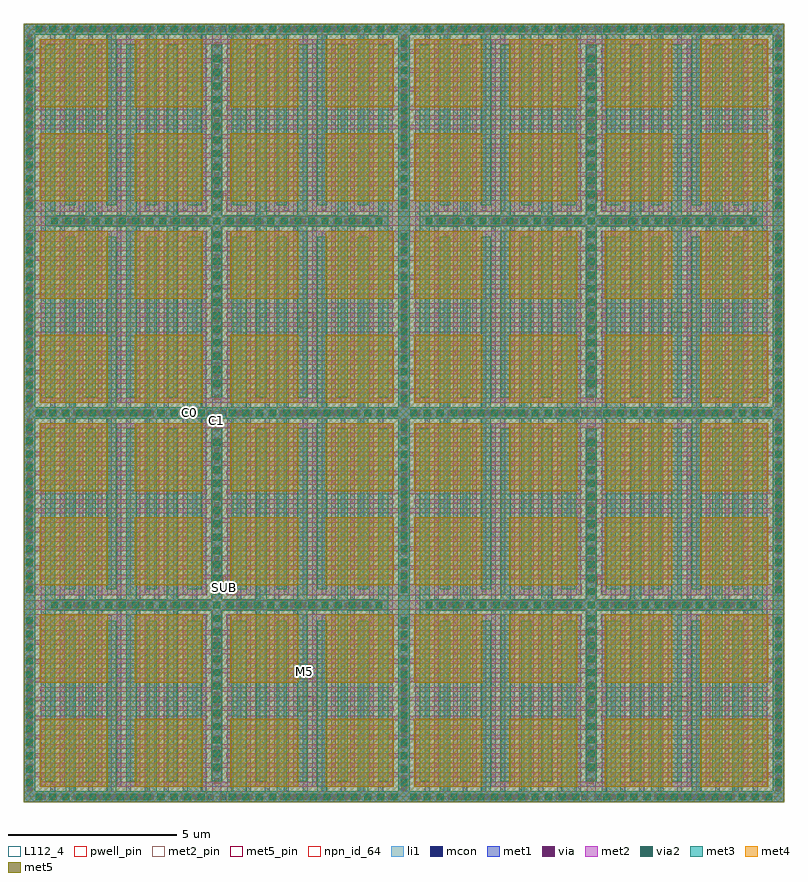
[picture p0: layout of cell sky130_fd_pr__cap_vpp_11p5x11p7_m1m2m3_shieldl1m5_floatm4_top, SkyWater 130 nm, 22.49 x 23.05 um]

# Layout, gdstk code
import gdstk
lib = gdstk.Library(unit=1e-6, precision=1e-09)
def R(c, l, rs):  # rectangles x0, y0, x1, y1
    for r in rs: c.add(gdstk.rectangle(r[:2], r[2:], *l))
def A(c, l, x, y, w, h, nx, ny, dx, dy):  # array of equal rectangles
    R(c, l, [(x+i*dx, y+j*dy, x+i*dx+w, y+j*dy+h) for i in range(nx) for j in range(ny)])
def P(c, l, *ps):  # polygons
    for p in ps: c.add(gdstk.Polygon(p, *l))
li1 = (67, 20)
mcon = (67, 44)
met1 = (68, 20)
via = (68, 44)
met2_pin = (69, 16)
met2 = (69, 20)
via2 = (69, 44)
met3 = (70, 20)
met4 = (71, 20)
met5_pin = (72, 16)
met5 = (72, 20)
npn_id_64 = (82, 64)
L112_4 = (112, 4)
pwell_pin = (122, 16)

sky130_fd_pr__cap_vpp_11 = lib.new_cell('sky130_fd_pr__cap_vpp_11p5x11p7_m1m2m3_shieldl1m5_floatm4')
R(sky130_fd_pr__cap_vpp_11, li1, [(0,0,11.41,11.69)])
A(sky130_fd_pr__cap_vpp_11, mcon, 0.4, 0.08, 0.17, 0.17, 30, 2, 0.36, 11.36)
A(sky130_fd_pr__cap_vpp_11, mcon, 0.08, 0.58, 0.17, 0.17, 1, 14, 0, 0.36)
A(sky130_fd_pr__cap_vpp_11, mcon, 11.16, 0.58, 0.17, 0.17, 1, 14, 0, 0.36)
A(sky130_fd_pr__cap_vpp_11, mcon, 0.08, 6.26, 0.17, 0.17, 1, 14, 0, 0.36)
A(sky130_fd_pr__cap_vpp_11, mcon, 11.16, 6.26, 0.17, 0.17, 1, 14, 0, 0.36)
P(sky130_fd_pr__cap_vpp_11, met1, [(10.91,11.22),(10.77,11.22),(10.77,6.005),(10.35,6.005),(10.35,11.22),(10.21,11.22),(10.21,6.005),(9.79,6.005),(9.79,11.22),(9.65,11.22),(9.65,6.005),(9.23,6.005),(9.23,11.22),(9.09,11.22),(9.09,6.005),(8.67,6.005),(8.67,11.22),(8.53,11.22),(8.53,6.005),(8.11,6.005),(8.11,11.22),(7.97,11.22),(7.97,6.005),(7.55,6.005),(7.55,11.22),(7.41,11.22),(7.41,6.005),(6.99,6.005),(6.99,11.22),(6.85,11.22),(6.85,6.005),(6.43,6.005),(6.43,11.22),(6.29,11.22),(6.29,6.005),(5.84,6.005),(5.84,11.22),(5.57,11.22),(5.57,6.005),(5.12,6.005),(5.12,11.22),(4.98,11.22),(4.98,6.005),(4.56,6.005),(4.56,11.22),(4.42,11.22),(4.42,6.005),(4,6.005),(4,11.22),(3.86,11.22),(3.86,6.005),(3.44,6.005),(3.44,11.22),(3.3,11.22),(3.3,6.005),(2.88,6.005),(2.88,11.22),(2.74,11.22),(2.74,6.005),(2.32,6.005),(2.32,11.22),(2.18,11.22),(2.18,6.005),(1.76,6.005),(1.76,11.22),(1.62,11.22),(1.62,6.005),(1.2,6.005),(1.2,11.22),(1.06,11.22),(1.06,6.005),(0.64,6.005),(0.64,11.22),(0.5,11.22),(0.5,0.47),(0.64,0.47),(0.64,5.685),(1.06,5.685),(1.06,0.47),(1.2,0.47),(1.2,5.685),(1.62,5.685),(1.62,0.47),(1.76,0.47),(1.76,5.685),(2.18,5.685),(2.18,0.47),(2.32,0.47),(2.32,5.685),(2.74,5.685),(2.74,0.47),(2.88,0.47),(2.88,5.685),(3.3,5.685),(3.3,0.47),(3.44,0.47),(3.44,5.685),(3.86,5.685),(3.86,0.47),(4,0.47),(4,5.685),(4.42,5.685),(4.42,0.47),(4.56,0.47),(4.56,5.685),(4.98,5.685),(4.98,0.47),(5.12,0.47),(5.12,5.685),(5.57,5.685),(5.57,0.47),(5.84,0.47),(5.84,5.685),(6.29,5.685),(6.29,0.47),(6.43,0.47),(6.43,5.685),(6.85,5.685),(6.85,0.47),(6.99,0.47),(6.99,5.685),(7.41,5.685),(7.41,0.47),(7.55,0.47),(7.55,5.685),(7.97,5.685),(7.97,0.47),(8.11,0.47),(8.11,5.685),(8.53,5.685),(8.53,0.47),(8.67,0.47),(8.67,5.685),(9.09,5.685),(9.09,0.47),(9.23,0.47),(9.23,5.685),(9.65,5.685),(9.65,0.47),(9.79,0.47),(9.79,5.685),(10.21,5.685),(10.21,0.47),(10.35,0.47),(10.35,5.685),(10.77,5.685),(10.77,0.47),(10.91,0.47)],
  [(11.41,11.69),(11.08,11.69),(11.08,0.33),(10.63,0.33),(10.63,5.545),(10.49,5.545),(10.49,0.33),(10.07,0.33),(10.07,5.545),(9.93,5.545),(9.93,0.33),(9.51,0.33),(9.51,5.545),(9.37,5.545),(9.37,0.33),(8.95,0.33),(8.95,5.545),(8.81,5.545),(8.81,0.33),(8.39,0.33),(8.39,5.545),(8.25,5.545),(8.25,0.33),(7.83,0.33),(7.83,5.545),(7.69,5.545),(7.69,0.33),(7.27,0.33),(7.27,5.545),(7.13,5.545),(7.13,0.33),(6.71,0.33),(6.71,5.545),(6.57,5.545),(6.57,0.33),(6.15,0.33),(6.15,5.545),(6.01,5.545),(6.01,0.33),(5.4,0.33),(5.4,5.545),(5.26,5.545),(5.26,0.33),(4.84,0.33),(4.84,5.545),(4.7,5.545),(4.7,0.33),(4.28,0.33),(4.28,5.545),(4.14,5.545),(4.14,0.33),(3.72,0.33),(3.72,5.545),(3.58,5.545),(3.58,0.33),(3.16,0.33),(3.16,5.545),(3.02,5.545),(3.02,0.33),(2.6,0.33),(2.6,5.545),(2.46,5.545),(2.46,0.33),(2.04,0.33),(2.04,5.545),(1.9,5.545),(1.9,0.33),(1.48,0.33),(1.48,5.545),(1.34,5.545),(1.34,0.33),(0.92,0.33),(0.92,5.545),(0.78,5.545),(0.78,0.33),(0.33,0.33),(0.33,11.36),(0.78,11.36),(0.78,6.145),(0.92,6.145),(0.92,11.36),(1.34,11.36),(1.34,6.145),(1.48,6.145),(1.48,11.36),(1.9,11.36),(1.9,6.145),(2.04,6.145),(2.04,11.36),(2.46,11.36),(2.46,6.145),(2.6,6.145),(2.6,11.36),(3.02,11.36),(3.02,6.145),(3.16,6.145),(3.16,11.36),(3.58,11.36),(3.58,6.145),(3.72,6.145),(3.72,11.36),(4.14,11.36),(4.14,6.145),(4.28,6.145),(4.28,11.36),(4.7,11.36),(4.7,6.145),(4.84,6.145),(4.84,11.36),(5.26,11.36),(5.26,6.145),(5.4,6.145),(5.4,11.36),(6.01,11.36),(6.01,6.145),(6.15,6.145),(6.15,11.36),(6.57,11.36),(6.57,6.145),(6.71,6.145),(6.71,11.36),(7.13,11.36),(7.13,6.145),(7.27,6.145),(7.27,11.36),(7.69,11.36),(7.69,6.145),(7.83,6.145),(7.83,11.36),(8.25,11.36),(8.25,6.145),(8.39,6.145),(8.39,11.36),(8.81,11.36),(8.81,6.145),(8.95,6.145),(8.95,11.36),(9.37,11.36),(9.37,6.145),(9.51,6.145),(9.51,11.36),(9.93,11.36),(9.93,6.145),(10.07,6.145),(10.07,11.36),(10.49,11.36),(10.49,6.145),(10.63,6.145),(10.63,11.36),(11.08,11.36),(11.08,11.69),(0,11.69),(0,0),(11.41,0)])
A(sky130_fd_pr__cap_vpp_11, via, 4.015, 0.09, 0.15, 0.15, 1, 3, 0, 5.68)
A(sky130_fd_pr__cap_vpp_11, via, 7.245, 0.09, 0.15, 0.15, 1, 3, 0, 5.68)
A(sky130_fd_pr__cap_vpp_11, via, 0.09, 0.335, 0.15, 0.15, 1, 16, 0, 0.32)
A(sky130_fd_pr__cap_vpp_11, via, 11.17, 0.335, 0.15, 0.15, 1, 16, 0, 0.32)
A(sky130_fd_pr__cap_vpp_11, via, 5.63, 0.56, 0.15, 0.15, 1, 16, 0, 0.32)
A(sky130_fd_pr__cap_vpp_11, via, 0.815, 5.77, 0.15, 0.15, 11, 1, 0.32, 0)
A(sky130_fd_pr__cap_vpp_11, via, 7.245, 5.77, 0.15, 0.15, 11, 1, 0.32, 0)
A(sky130_fd_pr__cap_vpp_11, via, 5.63, 6.18, 0.15, 0.15, 1, 16, 0, 0.32)
A(sky130_fd_pr__cap_vpp_11, via, 0.09, 6.405, 0.15, 0.15, 1, 16, 0, 0.32)
A(sky130_fd_pr__cap_vpp_11, via, 11.17, 6.405, 0.15, 0.15, 1, 16, 0, 0.32)
R(sky130_fd_pr__cap_vpp_11, via, [(0.495,0.09,0.645,0.24), (0.495,0.09,0.645,0.24), (0.815,0.09,0.965,0.24), (0.815,0.09,0.965,0.24), (1.135,0.09,1.285,0.24), (1.135,0.09,1.285,0.24), (1.455,0.09,1.605,0.24), (1.455,0.09,1.605,0.24), (1.775,0.09,1.925,0.24), (1.775,0.09,1.925,0.24), (2.095,0.09,2.245,0.24), (2.095,0.09,2.245,0.24), (2.415,0.09,2.565,0.24), (2.415,0.09,2.565,0.24), (2.735,0.09,2.885,0.24), (2.735,0.09,2.885,0.24), (3.055,0.09,3.205,0.24), (3.055,0.09,3.205,0.24), (3.375,0.09,3.525,0.24), (3.375,0.09,3.525,0.24), (3.695,0.09,3.845,0.24), (3.695,0.09,3.845,0.24), (4.015,0.09,4.165,0.24), (4.335,0.09,4.485,0.24), (4.335,0.09,4.485,0.24), (4.655,0.09,4.805,0.24), (4.655,0.09,4.805,0.24), (4.975,0.09,5.125,0.24), (4.975,0.09,5.125,0.24), (6.285,0.09,6.435,0.24), (6.285,0.09,6.435,0.24), (6.605,0.09,6.755,0.24), (6.605,0.09,6.755,0.24), (6.925,0.09,7.075,0.24), (6.925,0.09,7.075,0.24), (7.245,0.09,7.395,0.24), (7.565,0.09,7.715,0.24), (7.565,0.09,7.715,0.24), (7.885,0.09,8.035,0.24), (7.885,0.09,8.035,0.24), (8.205,0.09,8.355,0.24), (8.205,0.09,8.355,0.24), (8.525,0.09,8.675,0.24), (8.525,0.09,8.675,0.24), (8.845,0.09,8.995,0.24), (8.845,0.09,8.995,0.24), (9.165,0.09,9.315,0.24), (9.165,0.09,9.315,0.24), (9.485,0.09,9.635,0.24), (9.485,0.09,9.635,0.24), (9.805,0.09,9.955,0.24), (9.805,0.09,9.955,0.24), (10.125,0.09,10.275,0.24), (10.125,0.09,10.275,0.24), (10.445,0.09,10.595,0.24), (10.445,0.09,10.595,0.24), (10.765,0.09,10.915,0.24), (10.765,0.09,10.915,0.24), (4.335,5.77,4.485,5.92), (4.335,5.77,4.485,5.92), (4.655,5.77,4.805,5.92), (4.655,5.77,4.805,5.92), (4.975,5.77,5.125,5.92), (4.975,5.77,5.125,5.92), (5.295,5.77,5.445,5.92), (5.295,5.77,5.445,5.92), (5.965,5.77,6.115,5.92), (5.965,5.77,6.115,5.92), (6.285,5.77,6.435,5.92), (6.285,5.77,6.435,5.92), (6.605,5.77,6.755,5.92), (6.605,5.77,6.755,5.92), (6.925,5.77,7.075,5.92), (6.925,5.77,7.075,5.92), (0.495,11.45,0.645,11.6), (0.495,11.45,0.645,11.6), (0.815,11.45,0.965,11.6), (0.815,11.45,0.965,11.6), (1.135,11.45,1.285,11.6), (1.135,11.45,1.285,11.6), (1.455,11.45,1.605,11.6), (1.455,11.45,1.605,11.6), (1.775,11.45,1.925,11.6), (1.775,11.45,1.925,11.6), (2.095,11.45,2.245,11.6), (2.095,11.45,2.245,11.6), (2.415,11.45,2.565,11.6), (2.415,11.45,2.565,11.6), (2.735,11.45,2.885,11.6), (2.735,11.45,2.885,11.6), (3.055,11.45,3.205,11.6), (3.055,11.45,3.205,11.6), (3.375,11.45,3.525,11.6), (3.375,11.45,3.525,11.6), (3.695,11.45,3.845,11.6), (3.695,11.45,3.845,11.6), (4.015,11.45,4.165,11.6), (4.335,11.45,4.485,11.6), (4.335,11.45,4.485,11.6), (4.655,11.45,4.805,11.6), (4.655,11.45,4.805,11.6), (4.975,11.45,5.125,11.6), (4.975,11.45,5.125,11.6), (6.285,11.45,6.435,11.6), (6.285,11.45,6.435,11.6), (6.605,11.45,6.755,11.6), (6.605,11.45,6.755,11.6), (6.925,11.45,7.075,11.6), (6.925,11.45,7.075,11.6), (7.245,11.45,7.395,11.6), (7.565,11.45,7.715,11.6), (7.565,11.45,7.715,11.6), (7.885,11.45,8.035,11.6), (7.885,11.45,8.035,11.6), (8.205,11.45,8.355,11.6), (8.205,11.45,8.355,11.6), (8.525,11.45,8.675,11.6), (8.525,11.45,8.675,11.6), (8.845,11.45,8.995,11.6), (8.845,11.45,8.995,11.6), (9.165,11.45,9.315,11.6), (9.165,11.45,9.315,11.6), (9.485,11.45,9.635,11.6), (9.485,11.45,9.635,11.6), (9.805,11.45,9.955,11.6), (9.805,11.45,9.955,11.6), (10.125,11.45,10.275,11.6), (10.125,11.45,10.275,11.6), (10.445,11.45,10.595,11.6), (10.445,11.45,10.595,11.6), (10.765,11.45,10.915,11.6), (10.765,11.45,10.915,11.6)])
R(sky130_fd_pr__cap_vpp_11, met2_pin, [(5.63,11.44,5.8,11.58), (4.205,11.45,4.37,11.615)])
P(sky130_fd_pr__cap_vpp_11, met2, [(5.43,11.69),(0,11.69),(0,6.12),(0.33,6.12),(0.33,6.125),(5.425,6.125),(5.425,6.46),(0.33,6.46),(0.33,6.88),(5.425,6.88),(5.425,7.02),(0.33,7.02),(0.33,7.44),(5.425,7.44),(5.425,7.58),(0.33,7.58),(0.33,8),(5.425,8),(5.425,8.14),(0.33,8.14),(0.33,8.56),(5.425,8.56),(5.425,8.7),(0.33,8.7),(0.33,9.12),(5.425,9.12),(5.425,9.26),(0.33,9.26),(0.33,9.68),(5.425,9.68),(5.425,9.82),(0.33,9.82),(0.33,10.24),(5.425,10.24),(5.425,10.38),(0.33,10.38),(0.33,10.8),(5.425,10.8),(5.425,10.94),(0.33,10.94),(0.33,11.36),(5.43,11.36)],
  [(5.43,0.33),(0.33,0.33),(0.33,0.75),(5.425,0.75),(5.425,0.89),(0.33,0.89),(0.33,1.31),(5.425,1.31),(5.425,1.45),(0.33,1.45),(0.33,1.87),(5.425,1.87),(5.425,2.01),(0.33,2.01),(0.33,2.43),(5.425,2.43),(5.425,2.57),(0.33,2.57),(0.33,2.99),(5.425,2.99),(5.425,3.13),(0.33,3.13),(0.33,3.55),(5.425,3.55),(5.425,3.69),(0.33,3.69),(0.33,4.11),(5.425,4.11),(5.425,4.25),(0.33,4.25),(0.33,4.67),(5.425,4.67),(5.425,4.81),(0.33,4.81),(0.33,5.23),(5.425,5.23),(5.425,5.565),(0.33,5.565),(0.33,5.57),(0,5.57),(0,0),(5.43,0)],
  [(11.41,11.69),(5.98,11.69),(5.98,11.36),(11.08,11.36),(11.08,10.94),(5.985,10.94),(5.985,10.8),(11.08,10.8),(11.08,10.38),(5.985,10.38),(5.985,10.24),(11.08,10.24),(11.08,9.82),(5.985,9.82),(5.985,9.68),(11.08,9.68),(11.08,9.26),(5.985,9.26),(5.985,9.12),(11.08,9.12),(11.08,8.7),(5.985,8.7),(5.985,8.56),(11.08,8.56),(11.08,8.14),(5.985,8.14),(5.985,8),(11.08,8),(11.08,7.58),(5.985,7.58),(5.985,7.44),(11.08,7.44),(11.08,7.02),(5.985,7.02),(5.985,6.88),(11.08,6.88),(11.08,6.46),(5.985,6.46),(5.985,6.125),(11.08,6.125),(11.08,6.12),(11.41,6.12)],
  [(11.41,5.98),(11.04,5.98),(11.04,5.985),(5.845,5.985),(5.845,6.6),(10.94,6.6),(10.94,6.74),(5.845,6.74),(5.845,7.16),(10.94,7.16),(10.94,7.3),(5.845,7.3),(5.845,7.72),(10.94,7.72),(10.94,7.86),(5.845,7.86),(5.845,8.28),(10.94,8.28),(10.94,8.42),(5.845,8.42),(5.845,8.84),(10.94,8.84),(10.94,8.98),(5.845,8.98),(5.845,9.4),(10.94,9.4),(10.94,9.54),(5.845,9.54),(5.845,9.96),(10.94,9.96),(10.94,10.1),(5.845,10.1),(5.845,10.52),(10.94,10.52),(10.94,10.66),(5.845,10.66),(5.845,11.08),(10.94,11.08),(10.94,11.22),(5.84,11.22),(5.84,11.69),(5.57,11.69),(5.57,11.22),(0.47,11.22),(0.47,11.08),(5.565,11.08),(5.565,10.66),(0.47,10.66),(0.47,10.52),(5.565,10.52),(5.565,10.1),(0.47,10.1),(0.47,9.96),(5.565,9.96),(5.565,9.54),(0.47,9.54),(0.47,9.4),(5.565,9.4),(5.565,8.98),(0.47,8.98),(0.47,8.84),(5.565,8.84),(5.565,8.42),(0.47,8.42),(0.47,8.28),(5.565,8.28),(5.565,7.86),(0.47,7.86),(0.47,7.72),(5.565,7.72),(5.565,7.3),(0.47,7.3),(0.47,7.16),(5.565,7.16),(5.565,6.74),(0.47,6.74),(0.47,6.6),(5.565,6.6),(5.565,5.985),(0.37,5.985),(0.37,5.98),(0,5.98),(0,5.71),(0.37,5.71),(0.37,5.705),(5.565,5.705),(5.565,5.09),(0.47,5.09),(0.47,4.95),(5.565,4.95),(5.565,4.53),(0.47,4.53),(0.47,4.39),(5.565,4.39),(5.565,3.97),(0.47,3.97),(0.47,3.83),(5.565,3.83),(5.565,3.41),(0.47,3.41),(0.47,3.27),(5.565,3.27),(5.565,2.85),(0.47,2.85),(0.47,2.71),(5.565,2.71),(5.565,2.29),(0.47,2.29),(0.47,2.15),(5.565,2.15),(5.565,1.73),(0.47,1.73),(0.47,1.59),(5.565,1.59),(5.565,1.17),(0.47,1.17),(0.47,1.03),(5.565,1.03),(5.565,0.61),(0.47,0.61),(0.47,0.47),(5.57,0.47),(5.57,0),(5.84,0),(5.84,0.47),(10.94,0.47),(10.94,0.61),(5.845,0.61),(5.845,1.03),(10.94,1.03),(10.94,1.17),(5.845,1.17),(5.845,1.59),(10.94,1.59),(10.94,1.73),(5.845,1.73),(5.845,2.15),(10.94,2.15),(10.94,2.29),(5.845,2.29),(5.845,2.71),(10.94,2.71),(10.94,2.85),(5.845,2.85),(5.845,3.27),(10.94,3.27),(10.94,3.41),(5.845,3.41),(5.845,3.83),(10.94,3.83),(10.94,3.97),(5.845,3.97),(5.845,4.39),(10.94,4.39),(10.94,4.53),(5.845,4.53),(5.845,4.95),(10.94,4.95),(10.94,5.09),(5.845,5.09),(5.845,5.705),(11.04,5.705),(11.04,5.71),(11.41,5.71)],
  [(11.41,5.57),(11.08,5.57),(11.08,5.565),(5.985,5.565),(5.985,5.23),(11.08,5.23),(11.08,4.81),(5.985,4.81),(5.985,4.67),(11.08,4.67),(11.08,4.25),(5.985,4.25),(5.985,4.11),(11.08,4.11),(11.08,3.69),(5.985,3.69),(5.985,3.55),(11.08,3.55),(11.08,3.13),(5.985,3.13),(5.985,2.99),(11.08,2.99),(11.08,2.57),(5.985,2.57),(5.985,2.43),(11.08,2.43),(11.08,2.01),(5.985,2.01),(5.985,1.87),(11.08,1.87),(11.08,1.45),(5.985,1.45),(5.985,1.31),(11.08,1.31),(11.08,0.89),(5.985,0.89),(5.985,0.75),(11.08,0.75),(11.08,0.33),(5.98,0.33),(5.98,0),(11.41,0)])
A(sky130_fd_pr__cap_vpp_11, via2, 0.345, 0.065, 0.2, 0.2, 13, 2, 0.4, 11.36)
A(sky130_fd_pr__cap_vpp_11, via2, 6.065, 0.065, 0.2, 0.2, 13, 2, 0.4, 11.36)
A(sky130_fd_pr__cap_vpp_11, via2, 0.065, 0.485, 0.2, 0.2, 1, 13, 0, 0.4)
A(sky130_fd_pr__cap_vpp_11, via2, 11.145, 0.485, 0.2, 0.2, 1, 13, 0, 0.4)
A(sky130_fd_pr__cap_vpp_11, via2, 5.605, 0.945, 0.2, 0.2, 1, 13, 0, 0.4)
A(sky130_fd_pr__cap_vpp_11, via2, 0.805, 5.745, 0.2, 0.2, 13, 1, 0.4, 0)
A(sky130_fd_pr__cap_vpp_11, via2, 5.605, 5.745, 0.2, 0.2, 1, 13, 0, 0.4)
A(sky130_fd_pr__cap_vpp_11, via2, 5.605, 5.745, 0.2, 0.2, 13, 1, 0.4, 0)
A(sky130_fd_pr__cap_vpp_11, via2, 0.065, 6.205, 0.2, 0.2, 1, 13, 0, 0.4)
A(sky130_fd_pr__cap_vpp_11, via2, 11.145, 6.205, 0.2, 0.2, 1, 13, 0, 0.4)
P(sky130_fd_pr__cap_vpp_11, met3, [(10.78,11.06),(10.48,11.06),(10.48,6.01),(9.58,6.01),(9.58,11.06),(9.28,11.06),(9.28,6.01),(8.38,6.01),(8.38,11.06),(8.08,11.06),(8.08,6.01),(7.18,6.01),(7.18,11.06),(6.88,11.06),(6.88,6.01),(5.87,6.01),(5.87,11.06),(5.54,11.06),(5.54,6.01),(4.53,6.01),(4.53,11.06),(4.23,11.06),(4.23,6.01),(3.33,6.01),(3.33,11.06),(3.03,11.06),(3.03,6.01),(2.13,6.01),(2.13,11.06),(1.83,11.06),(1.83,6.01),(0.93,6.01),(0.93,11.06),(0.63,11.06),(0.63,0.63),(0.93,0.63),(0.93,5.68),(1.83,5.68),(1.83,0.63),(2.13,0.63),(2.13,5.68),(3.03,5.68),(3.03,0.63),(3.33,0.63),(3.33,5.68),(4.23,5.68),(4.23,0.63),(4.53,0.63),(4.53,5.68),(5.54,5.68),(5.54,0.63),(5.87,0.63),(5.87,5.68),(6.88,5.68),(6.88,0.63),(7.18,0.63),(7.18,5.68),(8.08,5.68),(8.08,0.63),(8.38,0.63),(8.38,5.68),(9.28,5.68),(9.28,0.63),(9.58,0.63),(9.58,5.68),(10.48,5.68),(10.48,0.63),(10.78,0.63)],
  [(11.41,11.69),(11.08,11.69),(11.08,0.33),(10.18,0.33),(10.18,5.38),(9.88,5.38),(9.88,0.33),(8.98,0.33),(8.98,5.38),(8.68,5.38),(8.68,0.33),(7.78,0.33),(7.78,5.38),(7.48,5.38),(7.48,0.33),(6.58,0.33),(6.58,5.38),(6.17,5.38),(6.17,0.33),(5.24,0.33),(5.24,5.38),(4.83,5.38),(4.83,0.33),(3.93,0.33),(3.93,5.38),(3.63,5.38),(3.63,0.33),(2.73,0.33),(2.73,5.38),(2.43,5.38),(2.43,0.33),(1.53,0.33),(1.53,5.38),(1.23,5.38),(1.23,0.33),(0.33,0.33),(0.33,11.36),(1.23,11.36),(1.23,6.31),(1.53,6.31),(1.53,11.36),(2.43,11.36),(2.43,6.31),(2.73,6.31),(2.73,11.36),(3.63,11.36),(3.63,6.31),(3.93,6.31),(3.93,11.36),(4.83,11.36),(4.83,6.31),(5.24,6.31),(5.24,11.36),(6.17,11.36),(6.17,6.31),(6.58,6.31),(6.58,11.36),(7.48,11.36),(7.48,6.31),(7.78,6.31),(7.78,11.36),(8.68,11.36),(8.68,6.31),(8.98,6.31),(8.98,11.36),(9.88,11.36),(9.88,6.31),(10.18,6.31),(10.18,11.36),(11.08,11.36),(11.08,11.69),(0,11.69),(0,0),(11.41,0)])
R(sky130_fd_pr__cap_vpp_11, met4, [(0.47,0.47,2.48,2.48), (3.28,0.47,5.29,2.48), (6.1,0.47,8.11,2.48), (8.93,0.47,10.94,2.48), (0.47,3.54,2.48,5.55), (3.28,3.54,5.29,5.55), (6.1,3.54,8.11,5.55), (8.93,3.54,10.94,5.55), (0.47,6.435,2.48,8.445), (3.28,6.435,5.29,8.445), (6.1,6.435,8.11,8.445), (8.93,6.435,10.94,8.445), (0.47,9.21,2.48,11.22), (3.28,9.21,5.29,11.22), (6.1,9.21,8.11,11.22), (8.93,9.21,10.94,11.22)])
R(sky130_fd_pr__cap_vpp_11, met5_pin, [(8.145,2.68,8.58,3.155), (8.145,2.68,8.58,3.155)])
R(sky130_fd_pr__cap_vpp_11, met5, [(0,0,11.41,11.69)])
R(sky130_fd_pr__cap_vpp_11, npn_id_64, [(0.17,0.17,11.24,11.52)])
R(sky130_fd_pr__cap_vpp_11, L112_4, [(0,0,11.41,11.69)])
R(sky130_fd_pr__cap_vpp_11, pwell_pin, [(5.88,6.445,5.985,6.69)])
sky130_fd_pr__cap_vpp_11.add(gdstk.Label('m4_float', (9.935,10.215), layer=83, texttype=44))
sky130_fd_pr__cap_vpp_11.add(gdstk.Label('m4_float', (9.935,7.44), layer=83, texttype=44))
sky130_fd_pr__cap_vpp_11.add(gdstk.Label('m4_float', (9.935,4.545), layer=83, texttype=44))
sky130_fd_pr__cap_vpp_11.add(gdstk.Label('m4_float', (9.935,1.475), layer=83, texttype=44))
sky130_fd_pr__cap_vpp_11.add(gdstk.Label('m4_float', (7.105,10.215), layer=83, texttype=44))
sky130_fd_pr__cap_vpp_11.add(gdstk.Label('m4_float', (7.105,7.44), layer=83, texttype=44))
sky130_fd_pr__cap_vpp_11.add(gdstk.Label('m4_float', (7.105,4.545), layer=83, texttype=44))
sky130_fd_pr__cap_vpp_11.add(gdstk.Label('m4_float', (7.105,1.475), layer=83, texttype=44))
sky130_fd_pr__cap_vpp_11.add(gdstk.Label('m4_float', (4.285,10.215), layer=83, texttype=44))
sky130_fd_pr__cap_vpp_11.add(gdstk.Label('m4_float', (4.285,7.44), layer=83, texttype=44))
sky130_fd_pr__cap_vpp_11.add(gdstk.Label('m4_float', (4.285,4.545), layer=83, texttype=44))
sky130_fd_pr__cap_vpp_11.add(gdstk.Label('m4_float', (4.285,1.475), layer=83, texttype=44))
sky130_fd_pr__cap_vpp_11.add(gdstk.Label('m4_float', (1.475,10.215), layer=83, texttype=44))
sky130_fd_pr__cap_vpp_11.add(gdstk.Label('m4_float', (1.475,7.44), layer=83, texttype=44))
sky130_fd_pr__cap_vpp_11.add(gdstk.Label('m4_float', (1.475,4.545), layer=83, texttype=44))
sky130_fd_pr__cap_vpp_11.add(gdstk.Label('m4_float', (1.475,1.475), layer=83, texttype=44))
sky130_fd_pr__cap_vpp_11.add(gdstk.Label('MET5', (8.365,2.92), layer=72, texttype=5))
sky130_fd_pr__cap_vpp_11.add(gdstk.Label('C1', (5.715,11.51), layer=69, texttype=5))
sky130_fd_pr__cap_vpp_11.add(gdstk.Label('C0', (4.285,11.53), layer=69, texttype=5))
sky130_fd_pr__cap_vpp_11.add(gdstk.Label('SUB', (5.935,6.57), layer=64, texttype=59))

c_sky130_fd_pr__cap_vpp_11 = lib.new_cell('sky130_fd_pr__cap_vpp_11p5x11p7_m1m2m3_shieldl1m5_floatm4_top')
R(c_sky130_fd_pr__cap_vpp_11, met2_pin, [(5.65,11.235,5.77,11.375), (4.83,11.475,4.985,11.62)])
R(c_sky130_fd_pr__cap_vpp_11, met5_pin, [(8.075,3.64,8.53,4.095)])
R(c_sky130_fd_pr__cap_vpp_11, pwell_pin, [(5.895,6.345,5.945,6.395)])
r = gdstk.Reference(sky130_fd_pr__cap_vpp_11, (0,0)); r.repetition = gdstk.Repetition(2, 2, v1=(11.08,0), v2=(0,11.36)); c_sky130_fd_pr__cap_vpp_11.add(r)
c_sky130_fd_pr__cap_vpp_11.add(gdstk.Label('M5', (8.3,3.865), layer=72, texttype=5))
c_sky130_fd_pr__cap_vpp_11.add(gdstk.Label('SUB', (5.92,6.37), layer=64, texttype=59))
c_sky130_fd_pr__cap_vpp_11.add(gdstk.Label('C0', (4.91,11.55), layer=69, texttype=5))
c_sky130_fd_pr__cap_vpp_11.add(gdstk.Label('C1', (5.71,11.305), layer=69, texttype=5))

lib.write_gds('sky130_fd_pr__cap_vpp_11p5x11p7_m1m2m3_shieldl1m5_floatm4_top.gds')
